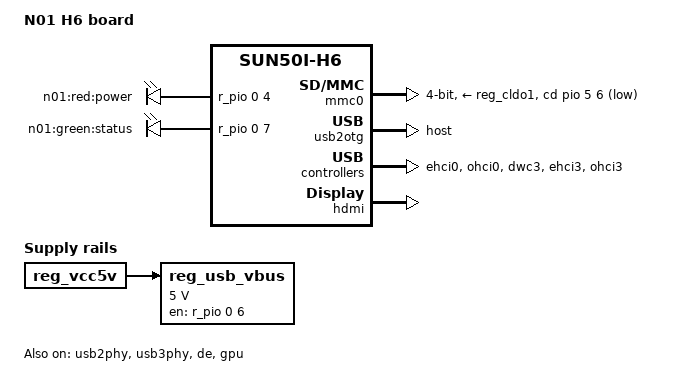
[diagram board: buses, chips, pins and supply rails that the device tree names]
// SPDX-License-Identifier: (GPL-2.0+ OR MIT)
/*
 * N01 board: Allwinner H6 with LPDDR3, AXP805 PMIC and the co-packaged
 * AC200 companion (audio codec + 100M ePHY + TV), for OpenWrt.
 *
 * Derived from the H6 Orange Pi board description through an N01-local base.
 * Differences against the Orange Pi reference that matter on N01: no WiFi/BT/SPI flash,
 * AC200 rails are ALDO2, PD rail is CLDO2 (not CLDO1, which stays on the SD
 * card only), PH/PM rail is ALDO1 (not BLDO3), USB0 VBUS is switched on PL6,
 * while Linux addresses the AXP805 through R-I2C.
 *
 * USB and HDMI are the two required functions on this board, so both the
 * USB2 OTG/host path (USB0), the USB2 host path (USB1) and the SuperSpeed
 * host path (USB3, with its USB2 companion) plus the full HDMI output chain
 * are enabled below.
 */

#include "sun50i-h6-n01-base.dtsi"

/ {
	model = "N01 H6 board";
	compatible = "n01,h6-board", "allwinner,sun50i-h6";

	aliases {
		serial0 = &uart0;
		mmc0 = &mmc0;
	};

	chosen {
		stdout-path = "serial0:115200n8";
	};

	leds {
		compatible = "gpio-leds";

		led-0 {
			label = "n01:red:power";
			gpios = <&r_pio 0 4 GPIO_ACTIVE_HIGH>;	/* PL4 */
			default-state = "on";
		};

		led-1 {
			label = "n01:green:status";
			gpios = <&r_pio 0 7 GPIO_ACTIVE_HIGH>;	/* PL7 */
		};
	};

	/* USB0-DRVVBUS is switched by PL6 on N01. */
	reg_usb_vbus: usb-vbus {
		compatible = "regulator-fixed";
		regulator-name = "usb0-vbus";
		regulator-min-microvolt = <5000000>;
		regulator-max-microvolt = <5000000>;
		vin-supply = <&reg_vcc5v>;
		gpio = <&r_pio 0 6 GPIO_ACTIVE_HIGH>;		/* PL6 */
		enable-active-high;
		regulator-always-on;
	};
};

/* ---- Power tree: N01 AXP805 rails ---------------------------------- */

&reg_aldo1 {
	regulator-name = "vcc-io-pl-pm-pg";
	regulator-always-on;
};

&reg_aldo2 {
	regulator-name = "vcc-ac200-ac-ldoin";
	regulator-always-on;
};

&reg_aldo3 {
	regulator-name = "aldo3-unused";
	/delete-property/ regulator-always-on;
};

&reg_bldo1 {
	regulator-name = "vcc18-bias-pll";
	regulator-always-on;
};

&reg_bldo2 {
	regulator-name = "vcc18-pc-pcie-hdmi-efuse";
	regulator-always-on;
};

&reg_bldo3 {
	regulator-name = "bldo3-unused";
	/delete-property/ regulator-always-on;
};

&reg_cldo1 {
	regulator-name = "vcc33-sd-io";
	regulator-always-on;
};

&reg_cldo2 {
	regulator-name = "vcc33-pd-uart";
	regulator-always-on;
};

&reg_cldo3 {
	regulator-name = "cldo3-unused";
	/delete-property/ regulator-always-on;
};

&pio {
	vcc-pc-supply = <&reg_bldo2>;
	vcc-pd-supply = <&reg_cldo2>;
	vcc-pg-supply = <&reg_aldo1>;
};

&r_pio {
	vcc-pm-supply = <&reg_aldo1>;
};

/* ---- Storage: SD card only (N01 has no eMMC/NAND boot device) ------ */

&mmc0 {
	vmmc-supply = <&reg_cldo1>;
	cd-gpios = <&pio 5 6 GPIO_ACTIVE_LOW>;
	bus-width = <4>;
	status = "okay";
};

/* ---- USB ----------------------------------------------------------- */

&usb2otg {
	dr_mode = "host";
	status = "okay";
};

&usb2phy {
	/delete-property/ usb0_id_det-gpios;
	usb0_vbus-supply = <&reg_usb_vbus>;
	usb3_vbus-supply = <&reg_usb_vbus>;
	status = "okay";
};

&ehci0 {
	status = "okay";
};

&ohci0 {
	status = "okay";
};

&usb3phy {
	status = "okay";
};

&dwc3 {
	status = "okay";
};

&ehci3 {
	status = "okay";
};

&ohci3 {
	status = "okay";
};

/* ---- Display / HDMI ------------------------------------------------ */

&de {
	status = "okay";
};

&hdmi {
	status = "okay";
};

&hdmi_out {
	hdmi_out_con: endpoint {
		remote-endpoint = <&hdmi_con_in>;
	};
};

&gpu {
	mali-supply = <&reg_dcdcc>;
	status = "okay";
};

/* ---- Unused on N01: R/C IR receiver -------------------------------- */

&r_ir {
	status = "disabled";
};

/*
 * AC200 (co-packaged audio codec + 100M ePHY + TV encoder) needs vendor
 * drivers that the upstream 5.15 kernel and OpenWrt do not carry, so the
 * H6 EMAC is intentionally left disabled here. USB and HDMI do not depend
 * on this node.
 */
&emac {
	status = "disabled";
};
